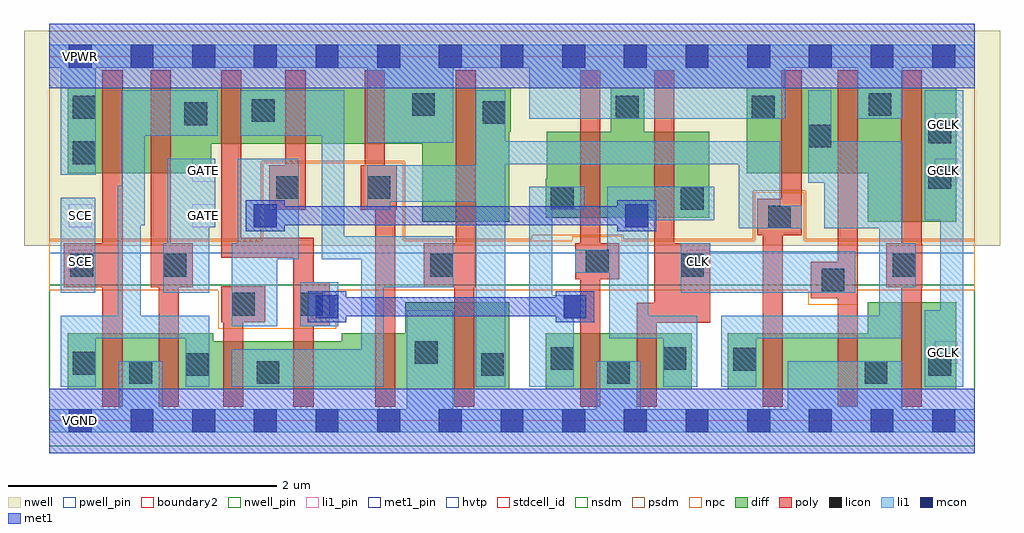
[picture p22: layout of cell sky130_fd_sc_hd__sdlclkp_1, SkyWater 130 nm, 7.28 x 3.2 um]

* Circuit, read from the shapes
.subckt sky130_fd_sc_hd__sdlclkp_1 CLK GATE GCLK SCE VGND VNB VPB VPWR
XM1 VGND SCE n1 VNB sky130_fd_pr__nfet_01v8 w=0.42 l=0.15
XM2 n1 GATE VGND VNB sky130_fd_pr__nfet_01v8 w=0.42 l=0.15
XM3 n2 n3 n1 VNB sky130_fd_pr__nfet_01v8 w=0.36 l=0.15
XM4 n4 n5 n2 VNB sky130_fd_pr__nfet_01v8 w=0.36 l=0.15
XM5 VGND n6 n4 VNB sky130_fd_pr__nfet_01v8 w=0.42 l=0.15
XM6 n6 n2 VGND VNB sky130_fd_pr__nfet_01v8 w=0.65 l=0.15
XM7 VGND n3 n5 VNB sky130_fd_pr__nfet_01v8 w=0.42 l=0.15
XM8 n3 CLK VGND VNB sky130_fd_pr__nfet_01v8 w=0.42 l=0.15
XM9 n7 n6 n8 VNB sky130_fd_pr__nfet_01v8 w=0.42 l=0.15
XM10 VGND CLK n7 VNB sky130_fd_pr__nfet_01v8 w=0.42 l=0.15
XM11 GCLK n8 VGND VNB sky130_fd_pr__nfet_01v8 w=0.65 l=0.15
XM12 n9 SCE VPWR VPB sky130_fd_pr__pfet_01v8_hvt w=0.64 l=0.15
XM13 n1 GATE n9 VPB sky130_fd_pr__pfet_01v8_hvt w=0.64 l=0.15
XM14 n2 n5 n1 VPB sky130_fd_pr__pfet_01v8_hvt w=0.42 l=0.15
XM15 n10 n3 n2 VPB sky130_fd_pr__pfet_01v8_hvt w=0.42 l=0.15
XM16 VPWR n6 n10 VPB sky130_fd_pr__pfet_01v8_hvt w=0.42 l=0.15
XM17 n6 n2 VPWR VPB sky130_fd_pr__pfet_01v8_hvt w=1 l=0.15
XM18 VPWR n3 n5 VPB sky130_fd_pr__pfet_01v8_hvt w=0.64 l=0.15
XM19 n3 CLK VPWR VPB sky130_fd_pr__pfet_01v8_hvt w=0.64 l=0.15
XM20 n8 n6 VPWR VPB sky130_fd_pr__pfet_01v8_hvt w=0.64 l=0.15
XM21 VPWR CLK n8 VPB sky130_fd_pr__pfet_01v8_hvt w=0.64 l=0.15
XM22 GCLK n8 VPWR VPB sky130_fd_pr__pfet_01v8_hvt w=1 l=0.15
.ends

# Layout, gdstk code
import gdstk
lib = gdstk.Library(unit=1e-6, precision=1e-09)
def R(c, l, rs):  # rectangles x0, y0, x1, y1
    for r in rs: c.add(gdstk.rectangle(r[:2], r[2:], *l))
def A(c, l, x, y, w, h, nx, ny, dx, dy):  # array of equal rectangles
    R(c, l, [(x+i*dx, y+j*dy, x+i*dx+w, y+j*dy+h) for i in range(nx) for j in range(ny)])
def P(c, l, *ps):  # polygons
    for p in ps: c.add(gdstk.Polygon(p, *l))
nwell_pin = (64, 16)
nwell = (64, 20)
diff = (65, 20)
poly = (66, 20)
licon = (66, 44)
li1_pin = (67, 16)
li1 = (67, 20)
mcon = (67, 44)
met1_pin = (68, 16)
met1 = (68, 20)
hvtp = (78, 44)
stdcell_id = (81, 4)
nsdm = (93, 44)
psdm = (94, 20)
npc = (95, 20)
pwell_pin = (122, 16)
boundary2 = (236, 0)

sky130_fd_sc_hd__sdlclkp = lib.new_cell('sky130_fd_sc_hd__sdlclkp_1')
R(sky130_fd_sc_hd__sdlclkp, nwell_pin, [(0.145,2.635,0.315,2.805)])
R(sky130_fd_sc_hd__sdlclkp, nwell, [(-0.19,1.305,7.09,2.91)])
R(sky130_fd_sc_hd__sdlclkp, diff, [(3.7,0.235,4.79,0.655)])
P(sky130_fd_sc_hd__sdlclkp, diff, [(6.765,2.485),(5.2,2.485),(5.2,1.845),(6.105,1.845),(6.105,1.485),(6.765,1.485)],
  [(6.765,0.885),(6.105,0.885),(6.105,0.655),(5.06,0.655),(5.06,0.235),(6.765,0.235)],
  [(3.44,2.485),(0.135,2.485),(0.135,1.845),(1.205,1.845),(1.205,2.065),(2.78,2.065),(2.78,1.485),(3.43,1.485),(3.43,2.155),(3.44,2.155)],
  [(3.43,0.885),(2.655,0.885),(2.655,0.655),(2.18,0.655),(2.18,0.595),(1.22,0.595),(1.22,0.655),(0.135,0.655),(0.135,0.235),(3.43,0.235)],
  [(4.92,2.155),(4.435,2.155),(4.435,2.485),(4.185,2.485),(4.185,2.155),(3.71,2.155),(3.71,1.805),(3.7,1.805),(3.7,1.515),(4.92,1.515)])
P(sky130_fd_sc_hd__sdlclkp, poly, [(1.91,2.615),(1.76,2.615),(1.76,1.905),(1.64,1.905),(1.64,1.575),(1.91,1.575)],
  [(2.09,1.035),(1.97,1.035),(1.97,1.365),(1.43,1.365),(1.43,2.615),(1.28,2.615),(1.28,1.215),(1.82,1.215),(1.82,0.105),(1.97,0.105),(1.97,0.705),(2.09,0.705)],
  [(3.18,2.615),(3.03,2.615),(3.03,1.325),(2.79,1.325),(2.79,0.995),(3.02,0.995),(3.02,0.105),(3.17,0.105),(3.17,0.995),(3.18,0.995)],
  [(5.61,2.615),(5.46,2.615),(5.46,1.655),(5.28,1.655),(5.28,1.385),(5.32,1.385),(5.32,0.105),(5.47,0.105),(5.47,1.385),(5.61,1.385)],
  [(4.93,1.325),(4.66,1.325),(4.66,2.615),(4.51,2.615),(4.51,0.88),(4.38,0.88),(4.38,0.105),(4.53,0.105),(4.53,0.73),(4.93,0.73)],
  [(6.51,1.325),(6.505,1.325),(6.505,2.615),(6.355,2.615),(6.355,1.325),(6.24,1.325),(6.24,0.995),(6.355,0.995),(6.355,0.105),(6.505,0.105),(6.505,0.995),(6.51,0.995)],
  [(6.03,2.615),(5.88,2.615),(5.88,1.185),(5.68,1.185),(5.68,0.915),(5.88,0.915),(5.88,0.105),(6.03,0.105)],
  [(0.545,2.615),(0.395,2.615),(0.395,1.325),(0.105,1.325),(0.105,0.995),(0.395,0.995),(0.395,0.105),(0.545,0.105)],
  [(1.07,1.325),(0.905,1.325),(0.905,2.615),(0.755,2.615),(0.755,0.995),(0.815,0.995),(0.815,0.105),(0.965,0.105),(0.965,0.995),(1.07,0.995)],
  [(1.61,1.005),(1.28,1.005),(1.28,0.735),(1.295,0.735),(1.295,0.105),(1.445,0.105),(1.445,0.735),(1.61,0.735)],
  [(2.59,1.905),(2.5,1.905),(2.5,2.615),(2.35,2.615),(2.35,1.905),(2.32,1.905),(2.32,1.575),(2.43,1.575),(2.43,0.105),(2.58,0.105),(2.58,1.575),(2.59,1.575)],
  [(4.25,1.325),(4.11,1.325),(4.11,2.615),(3.96,2.615),(3.96,1.325),(3.92,1.325),(3.92,1.055),(3.96,1.055),(3.96,0.105),(4.11,0.105),(4.11,1.055),(4.25,1.055)])
R(sky130_fd_sc_hd__sdlclkp, licon, [(0.595,0.275,0.765,0.445), (1.545,0.275,1.715,0.445), (4.16,0.275,4.33,0.445), (6.08,0.275,6.25,0.445), (1.015,0.335,1.185,0.505), (3.22,0.335,3.39,0.505), (6.555,0.335,6.725,0.505), (0.175,0.345,0.345,0.515), (5.1,0.375,5.27,0.545), (3.74,0.38,3.91,0.55), (4.58,0.38,4.75,0.55), (2.725,0.425,2.895,0.595), (1.36,0.785,1.53,0.955), (1.87,0.785,2.04,0.955), (5.76,0.965,5.93,1.135), (0.155,1.075,0.325,1.245), (0.85,1.075,1.02,1.245), (2.84,1.075,3.01,1.245), (4.71,1.075,4.88,1.245), (6.29,1.075,6.46,1.245), (4,1.105,4.17,1.275), (5.36,1.435,5.53,1.605), (3.74,1.575,3.91,1.745), (4.71,1.575,4.88,1.745), (1.69,1.655,1.86,1.825), (2.37,1.655,2.54,1.825), (6.555,1.73,6.725,1.9), (0.175,1.915,0.345,2.085), (5.66,2.04,5.83,2.21), (6.555,2.07,6.725,2.24), (1.005,2.205,1.175,2.375), (3.23,2.215,3.4,2.385), (1.51,2.23,1.68,2.4), (0.175,2.255,0.345,2.425), (4.225,2.255,4.395,2.425), (5.24,2.255,5.41,2.425), (2.705,2.275,2.875,2.445), (6.11,2.275,6.28,2.445)])
R(sky130_fd_sc_hd__sdlclkp, li1_pin, [(6.605,0.425,6.775,0.595), (0.145,1.105,0.315,1.275), (4.755,1.105,4.925,1.275), (0.145,1.445,0.315,1.615), (1.065,1.445,1.235,1.615), (1.065,1.785,1.235,1.955), (6.605,1.785,6.775,1.955), (6.605,2.125,6.775,2.295)])
R(sky130_fd_sc_hd__sdlclkp, li1, [(1.87,0.705,2.155,1.035), (0.085,0.955,0.34,1.665)])
P(sky130_fd_sc_hd__sdlclkp, li1, [(4.005,0.935),(3.75,0.935),(3.75,1.575),(3.99,1.575),(3.99,1.745),(3.58,1.745),(3.58,0.255),(3.91,0.255),(3.91,0.765),(4.005,0.765)],
  [(4.96,1.745),(4.16,1.745),(4.16,1.275),(3.92,1.275),(3.92,1.105),(4.175,1.105),(4.175,0.615),(4.58,0.615),(4.58,0.255),(4.83,0.255),(4.83,0.785),(4.465,0.785),(4.465,1.495),(4.96,1.495)],
  [(3.01,1.375),(2.2,1.375),(2.2,2.465),(1.425,2.465),(1.425,2.125),(2.03,2.125),(2.03,1.205),(2.325,1.205),(2.325,0.535),(1.36,0.535),(1.36,0.255),(2.495,0.255),(2.495,0.995),(3.01,0.995)],
  [(5.61,1.605),(5.45,1.605),(5.45,2.085),(3.4,2.085),(3.4,2.465),(3.18,2.465),(3.18,1.905),(2.37,1.905),(2.37,1.575),(2.54,1.575),(2.54,1.635),(3.18,1.635),(3.18,0.255),(3.4,0.255),(3.4,1.915),(5.14,1.915),(5.14,1.435),(5.61,1.435)],
  [(1.86,1.955),(1.405,1.955),(1.405,1.325),(1.36,1.325),(1.36,0.705),(1.7,0.705),(1.7,1.205),(1.86,1.205)],
  [(6.46,1.325),(6.36,1.325),(6.36,2.085),(5.83,2.085),(5.83,2.465),(5.66,2.465),(5.66,1.775),(5.78,1.775),(5.78,1.435),(6.19,1.435),(6.19,0.785),(5.01,0.785),(5.01,0.255),(5.27,0.255),(5.27,0.615),(6.36,0.615),(6.36,0.995),(6.46,0.995)],
  [(6.01,1.265),(4.93,1.265),(4.93,1.325),(4.71,1.325),(4.71,0.955),(6.01,0.955)],
  [(6.815,2.465),(6.53,2.465),(6.53,1.495),(6.645,1.495),(6.645,0.825),(6.53,0.825),(6.53,0.255),(6.815,0.255)],
  [(6.9,2.805),(0,2.805),(0,2.635),(0.085,2.635),(0.085,1.835),(0.345,1.835),(0.345,2.635),(2.37,2.635),(2.37,2.075),(3.01,2.075),(3.01,2.635),(3.58,2.635),(3.58,2.255),(5.49,2.255),(5.49,2.635),(6.03,2.635),(6.03,2.255),(6.36,2.255),(6.36,2.635),(6.9,2.635)],
  [(6.9,0.085),(6.36,0.085),(6.36,0.445),(5.505,0.445),(5.505,0.085),(4.41,0.085),(4.41,0.445),(4.08,0.445),(4.08,0.085),(3.01,0.085),(3.01,0.825),(2.665,0.825),(2.665,0.085),(0.845,0.085),(0.845,0.445),(0.515,0.445),(0.515,0.085),(0,0.085),(0,-0.085),(6.9,-0.085)],
  [(1.235,1.955),(0.88,1.955),(0.88,1.325),(0.85,1.325),(0.85,0.955),(1.19,0.955),(1.19,1.445),(1.235,1.445)],
  [(1.255,2.465),(0.54,2.465),(0.54,1.755),(0.51,1.755),(0.51,0.785),(0.085,0.785),(0.085,0.255),(0.345,0.255),(0.345,0.615),(1.015,0.615),(1.015,0.255),(1.19,0.255),(1.19,0.785),(0.68,0.785),(0.68,1.46),(0.71,1.46),(0.71,2.125),(1.255,2.125)])
A(sky130_fd_sc_hd__sdlclkp, mcon, 0.145, -0.085, 0.17, 0.17, 15, 2, 0.46, 2.72)
R(sky130_fd_sc_hd__sdlclkp, mcon, [(1.985,0.765,2.155,0.935), (3.835,0.765,4.005,0.935), (1.525,1.445,1.695,1.615), (4.295,1.445,4.465,1.615)])
R(sky130_fd_sc_hd__sdlclkp, met1_pin, [(0.145,-0.085,0.315,0.085), (0.145,2.635,0.315,2.805)])
P(sky130_fd_sc_hd__sdlclkp, met1, [(4.525,1.645),(4.235,1.645),(4.235,1.6),(1.755,1.6),(1.755,1.645),(1.465,1.645),(1.465,1.415),(1.755,1.415),(1.755,1.46),(4.235,1.46),(4.235,1.415),(4.525,1.415)],
  [(4.065,0.965),(3.775,0.965),(3.775,0.92),(2.215,0.92),(2.215,0.965),(1.925,0.965),(1.925,0.735),(2.215,0.735),(2.215,0.78),(3.775,0.78),(3.775,0.735),(4.065,0.735)])
R(sky130_fd_sc_hd__sdlclkp, hvtp, [(0,1.25,6.9,2.72)])
R(sky130_fd_sc_hd__sdlclkp, stdcell_id, [(0,0,6.9,2.72)])
R(sky130_fd_sc_hd__sdlclkp, nsdm, [(0,-0.19,6.9,1.015)])
P(sky130_fd_sc_hd__sdlclkp, psdm, [(6.9,2.91),(0,2.91),(0,1.355),(1.58,1.355),(1.58,1.935),(2.65,1.935),(2.65,1.355),(3.6,1.355),(3.6,1.385),(4.28,1.385),(4.28,1.355),(5.25,1.355),(5.25,1.715),(5.64,1.715),(5.64,1.355),(6.9,1.355)])
P(sky130_fd_sc_hd__sdlclkp, npc, [(6.9,1.345),(5.63,1.345),(5.63,1.705),(5.26,1.705),(5.26,1.345),(4.27,1.345),(4.27,1.375),(3.9,1.375),(3.9,1.345),(2.64,1.345),(2.64,1.925),(1.59,1.925),(1.59,1.345),(0,1.345),(0,0.975),(1.26,0.975),(1.26,0.685),(2.14,0.685),(2.14,0.975),(5.66,0.975),(5.66,0.865),(6.03,0.865),(6.03,0.975),(6.9,0.975)])
R(sky130_fd_sc_hd__sdlclkp, pwell_pin, [(0.145,-0.085,0.315,0.085)])
R(sky130_fd_sc_hd__sdlclkp, boundary2, [(0,0,6.9,2.72)])
sky130_fd_sc_hd__sdlclkp.add(gdstk.FlexPath([(0,2.72),(6.9,2.72)], 0.48, ends="flush", simple_path=True, layer=68, datatype=20))  # met1
sky130_fd_sc_hd__sdlclkp.add(gdstk.FlexPath([(0,0),(6.9,0)], 0.48, ends="flush", simple_path=True, layer=68, datatype=20))  # met1
sky130_fd_sc_hd__sdlclkp.add(gdstk.Label('SCE', (0.23,1.53), layer=67, texttype=5))
sky130_fd_sc_hd__sdlclkp.add(gdstk.Label('CLK', (4.84,1.19), layer=67, texttype=5))
sky130_fd_sc_hd__sdlclkp.add(gdstk.Label('GCLK', (6.67,2.21), layer=67, texttype=5))
sky130_fd_sc_hd__sdlclkp.add(gdstk.Label('GCLK', (6.67,1.87), layer=67, texttype=5))
sky130_fd_sc_hd__sdlclkp.add(gdstk.Label('GATE', (1.15,1.87), layer=67, texttype=5))
sky130_fd_sc_hd__sdlclkp.add(gdstk.Label('GCLK', (6.67,0.51), layer=67, texttype=5))
sky130_fd_sc_hd__sdlclkp.add(gdstk.Label('GATE', (1.15,1.53), layer=67, texttype=5))
sky130_fd_sc_hd__sdlclkp.add(gdstk.Label('SCE', (0.23,1.19), layer=67, texttype=5))
sky130_fd_sc_hd__sdlclkp.add(gdstk.Label('VGND', (0.23,0), layer=68, texttype=5))
sky130_fd_sc_hd__sdlclkp.add(gdstk.Label('VPWR', (0.23,2.72), layer=68, texttype=5))
sky130_fd_sc_hd__sdlclkp.add(gdstk.Label('VPB', (0.23,2.72), layer=64, texttype=5))
sky130_fd_sc_hd__sdlclkp.add(gdstk.Label('VNB', (0.23,0), layer=64, texttype=59))
sky130_fd_sc_hd__sdlclkp.add(gdstk.Label('sdlclkp_1', (0,0), layer=83, texttype=44))

lib.write_gds('sky130_fd_sc_hd__sdlclkp_1.gds')
